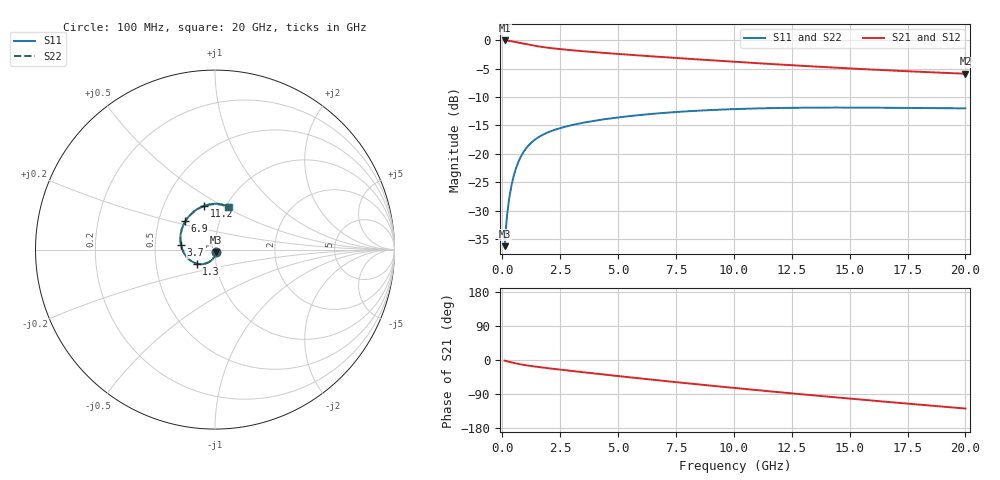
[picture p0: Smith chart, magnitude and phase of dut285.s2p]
! Touchstone file exported from HFSS 2023.1.0
!  File:  D:/Users/fzz/RDL_TSV/temp_RDL_TSV_285_1778763264.aedt
!  Generated:  9:01:41 %x4E0B%x5348  5%x6708 14, 2026
!  Design:  RDL_TSV
!  Project:  temp_RDL_TSV_285_1778763264
!  Setup:  Setup1
!  Solution:  Sweep
! Variables:
!  dtsv = 25.22um
!  hbump = 3um
!  htsv = 69.79um
!  ldown = 125.39um
!  lrdl = 201.46um
!  p = 40
!  p1 = 59.09um
!  rhole = 10um
!  subl = 1182.01um
!  t = 450um
!  tdown = 4.25um
!  trdl = 3.33um
!  viad = 10um
!  wdown = 10.69um
!  wrdl = 23.99um
!  xbump = 18um
# GHz S MA R 50.000000
! Terminal data exported
! Port[1] = TM1_1_T1
! Port[2] = TM1_4_T1
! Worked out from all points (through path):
!   200 points, 100 MHz to 20 GHz, reference 50 ohm
!   highest |S21| = -0.07 dB at 100 MHz (marker M1); lowest = -5.9 dB at 20 GHz (marker M2)
!   group delay of S21, straight-line fit = 16.8 ps
!   lowest |S11| = -36.2 dB at 100 MHz (marker M3), VSWR 1.03, Z = 50.6 - j1.46 ohm
!   |S11| at or under -10 dB: start of sweep to end of sweep
!   |S22| runs from -36.2 to -11.9 dB; largest |S21 - S12| = 1.4e-14
!   S11 on the Smith chart (normalised r, x): 100 MHz: 1.01, -0.03; 1.3 GHz: 0.81, -0.13; 3.7 GHz: 0.68, +0.04; 6.9 GHz: 0.68, +0.23; 11.2 GHz: 0.79, +0.41; 20 GHz: 1.03, +0.53
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0.1  0.01552 -68.2  0.9917 -1.7  0.9917 -1.7  0.01552 -68.2
! Gamma 0 0 0 0
! Port Impedance 50 0 50 0
0.2  0.02828 -86.3  0.9881 -3.3  0.9881 -3.3  0.02828 -86.3
0.3  0.0411 -96.1  0.9824 -4.9  0.9824 -4.9  0.0411 -96.1
0.4  0.05342 -103.4  0.9752 -6.4  0.9752 -6.4  0.05342 -103.4
0.5  0.06502 -109.6  0.967 -7.8  0.967 -7.8  0.06502 -109.6
0.6  0.07577 -115.1  0.9581 -9.2  0.9581 -9.2  0.07577 -115.1
0.8  0.09462 -124.6  0.9396 -11.5  0.9396 -11.5  0.09461 -124.5
1  0.1101 -132.6  0.9217 -13.6  0.9217 -13.6  0.1101 -132.6
1.3  0.1282 -142.6  0.8975 -16.4  0.8975 -16.4  0.1282 -142.6
1.7  0.1457 -153.4  0.871 -19.6  0.871 -19.6  0.1456 -153.3
2.1  0.1585 -162.1  0.8498 -22.5  0.8498 -22.5  0.1584 -162.0
3.5  0.188 175.0  0.7971 -32.3  0.7971 -32.3  0.1877 175.1
3.7  0.1913 172.2  0.791 -33.7  0.791 -33.7  0.1909 172.4
5.2  0.2117 153.9  0.7499 -43.7  0.7499 -43.7  0.2111 154.1
6.8  0.2278 137.4  0.7117 -54.0  0.7117 -54.0  0.2269 137.6
6.9  0.2287 136.4  0.7094 -54.7  0.7094 -54.7  0.2277 136.7
8.5  0.2402 122.6  0.675 -64.6  0.675 -64.6  0.2388 122.8
10.1  0.248 110.8  0.6434 -74.2  0.6434 -74.2  0.2464 111.1
11.2  0.2516 103.8  0.6233 -80.7  0.6233 -80.7  0.2498 104.1
13.4  0.2552 92.2  0.5869 -93.1  0.5869 -93.1  0.253 92.5
16.7  0.2545 79.9  0.5416 -110.9  0.5416 -110.9  0.252 80.1
20  0.2515 72.4  0.5064 -128.1  0.5064 -128.1  0.2489 72.7
